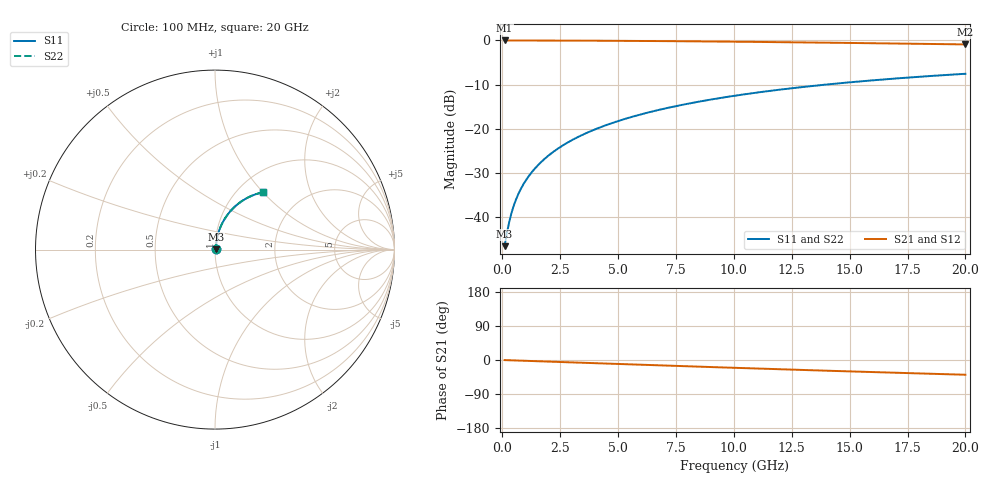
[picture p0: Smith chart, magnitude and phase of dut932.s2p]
! Touchstone file exported from HFSS 2026.1.0
!  File:  C:/ffzhzh/LocalFiles/Ansys_Project_Files/temp_train_TMRDL_932_1783158349_55132.aedt
!  Generated:  05:47:07 PM Jul  4, 2026
!  Design:  TMRDL
!  Project:  temp_train_TMRDL_932_1783158349_55132
! Variables:
!  h_bsmrdl = 2um
!  h_ox = 20um
!  h_rdl = 5um
!  h_sub = 80um
!  h_tmrdl = 2.3um
!  h_tsv = 80um
!  h_via = 3um
!  l_bsmrdl = 300um
!  l_sub = 899.66um
!  l_tmrdl = 499.66um
!  m_sub = 200um
!  pitch = 57.48um
!  r_tsv = 6um
!  s_tmrdl = 10um
!  w_bsmrdl = 18um
!  w_sub = 500um
!  w_tmrdl = 21.28um
!  x_tsv_center1 = 510.3um
!  x_tsv_center2 = 828.3um
!  x_tsv_center3 = 1349.24um
!  x_tsv_center4 = 1667.24um
!  x_tsv_center5 = 2188.18um
!  x_tsv_center6 = 2506.18um
# GHz S MA R 50.000000
! Terminal data exported
! Port[1] = TM_RDL1_1_T1
! Port[2] = TM_RDL1_1_T2
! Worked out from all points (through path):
!   200 points, 100 MHz to 20 GHz, reference 50 ohm
!   highest |S21| = -0.03 dB at 100 MHz (marker M1); lowest = -0.9 dB at 20 GHz (marker M2)
!   group delay of S21, straight-line fit = 5.42 ps
!   lowest |S11| = -46.5 dB at 100 MHz (marker M3), VSWR 1.01, Z = 50.4 + j0.267 ohm
!   |S11| at or under -10 dB: start of sweep to 13.99 GHz
!   |S22| runs from -46.5 to -7.6 dB; largest |S21 - S12| = 2e-15
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0.1  0.00472 34.1  0.9961 -0.2  0.9961 -0.2  0.00472 34.1
! Gamma 0 0 0 0
! Port Impedance 50 0 50 0
0.2  0.006626 52.7  0.996 -0.4  0.996 -0.4  0.006626 52.7
0.3  0.008893 62.0  0.9959 -0.7  0.9959 -0.7  0.008893 62.0
0.4  0.01127 67.2  0.9957 -0.9  0.9957 -0.9  0.01127 67.2
0.5  0.01367 70.4  0.9956 -1.1  0.9956 -1.1  0.01367 70.4
0.6  0.01608 72.6  0.9954 -1.3  0.9954 -1.3  0.01608 72.6
0.8  0.0209 75.5  0.9952 -1.7  0.9952 -1.7  0.0209 75.5
1.1  0.02814 77.8  0.9948 -2.3  0.9948 -2.3  0.02814 77.8
1.3  0.03298 78.7  0.9946 -2.8  0.9946 -2.8  0.03298 78.7
1.6  0.04025 79.5  0.9942 -3.4  0.9942 -3.4  0.04025 79.5
2.1  0.0524 80.0  0.9935 -4.4  0.9935 -4.4  0.0524 80.0
2.7  0.06698 79.8  0.9926 -5.7  0.9926 -5.7  0.06698 79.8
3.5  0.08637 79.1  0.9909 -7.4  0.9909 -7.4  0.08636 79.1
4.2  0.1032 78.1  0.9892 -8.8  0.9892 -8.8  0.1032 78.1
5  0.1223 76.9  0.9868 -10.5  0.9868 -10.5  0.1223 76.9
5.9  0.1435 75.3  0.9838 -12.3  0.9838 -12.3  0.1435 75.3
6.8  0.1644 73.7  0.9803 -14.2  0.9803 -14.2  0.1644 73.7
8.3  0.1985 70.9  0.9736 -17.2  0.9736 -17.2  0.1985 70.9
10.1  0.2378 67.5  0.9643 -20.8  0.9643 -20.8  0.2378 67.5
13.4  0.305 61.4  0.9444 -27.1  0.9444 -27.1  0.305 61.4
16.7  0.3653 55.5  0.9221 -33.2  0.9221 -33.2  0.3653 55.5
20  0.4186 49.8  0.8988 -38.9  0.8988 -38.9  0.4186 49.9
